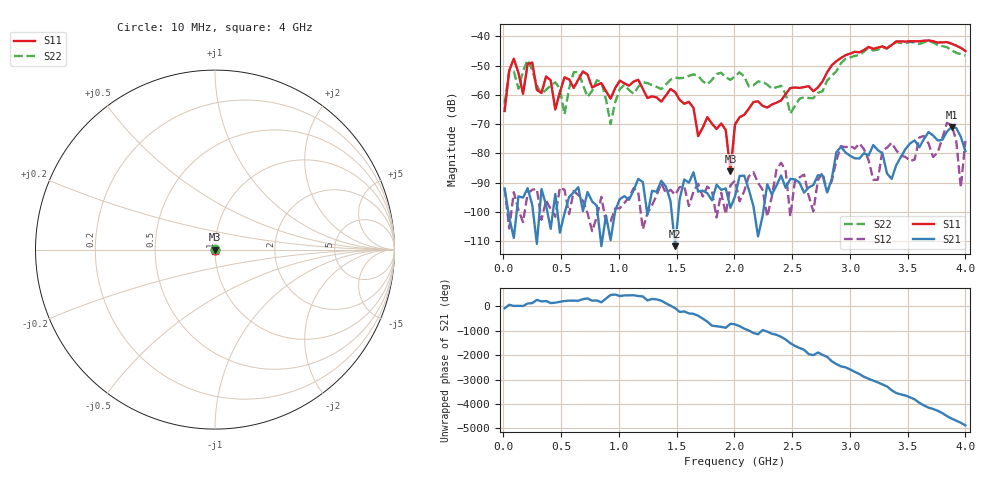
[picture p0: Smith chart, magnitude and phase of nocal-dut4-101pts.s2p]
! PocketVna 1.81  pocketvna.com
! Live measurements ((Reflection-S11, Transmission-S21, Transmission-S12, Reflection-S22) Linear 10000000-4000000000/101 non-calibrated)
# GHz S MA R 50
! GHz  |S11|  <S11  |S21|  <S21  |S12|  <S12  |S22|  <S22
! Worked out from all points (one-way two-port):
!   101 points, 10 MHz to 4 GHz, reference 50 ohm
!   highest |S21| = -70.96 dB at 3.88 GHz (marker M1); lowest = -111.6 dB at 1.486 GHz (marker M2)
!   lowest |S11| = -86.1 dB at 1.965 GHz (marker M3), VSWR 1.00, Z = 50 + j0.00175 ohm
!   |S11| at or under -10 dB: start of sweep to end of sweep
!   |S22| runs from -69.9 to -41.5 dB; largest |S21 - S12| = 0.00031
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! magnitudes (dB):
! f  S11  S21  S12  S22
! 10 MHz  -65.5  -91.9  -91.9  -63.1
! 89.8 MHz  -47.7  -108.8  -93.2  -52.0
! 169.6 MHz  -59.7  -95.1  -103.4  -51.9
! 249.4 MHz  -49.0  -97.5  -92.4  -51.5
! 448.9 MHz  -65.0  -93.8  -101.6  -55.7
! 528.7 MHz  -54.0  -100.4  -92.4  -66.7
! 608.5 MHz  -57.6  -93.3  -92.8  -52.3
! 688.3 MHz  -52.0  -99.7  -96.2  -56.6
! 847.9 MHz  -56.0  -111.6  -94.8  -55.6
! 927.7 MHz  -61.3  -109.6  -103.1  -69.9
! 1.047 GHz  -56.0  -94.5  -96.8  -56.6
! 1.367 GHz  -62.3  -89.3  -90.1  -58.0
! 1.486 GHz  -59.0  -111.6  -94.1  -54.1
! 1.965 GHz  -86.1  -98.5  -91.0  -54.9
! 2.005 GHz  -70.1  -94.7  -89.2  -53.7
! 2.404 GHz  -61.9  -87.5  -83.1  -56.9
! 2.484 GHz  -57.7  -88.7  -101.5  -66.4
! 2.683 GHz  -58.7  -90.8  -99.8  -61.1
! 3.362 GHz  -43.0  -88.7  -76.3  -42.8
! 3.761 GHz  -42.2  -75.6  -79.7  -43.0
! 3.88 GHz  -42.5  -71.0  -70.3  -44.8
! 4 GHz  -45.0  -79.2  -75.8  -46.5
